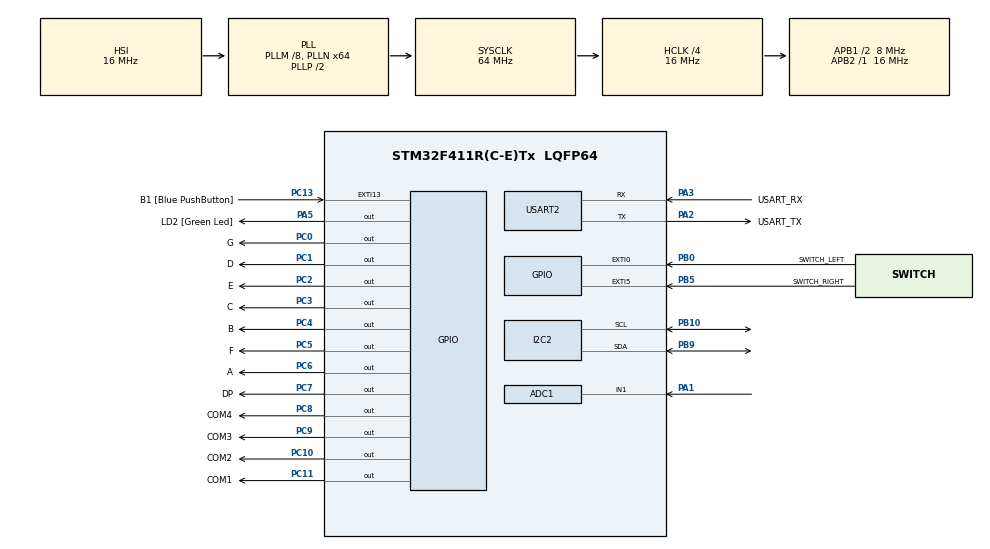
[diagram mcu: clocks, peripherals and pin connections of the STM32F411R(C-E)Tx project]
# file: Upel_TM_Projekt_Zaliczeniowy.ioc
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ADC1.Channel-0\#ChannelRegularConversion=ADC_CHANNEL_TEMPSENSOR
ADC1.Channel-1\#ChannelRegularConversion=ADC_CHANNEL_1
ADC1.ClockPrescaler=ADC_CLOCK_SYNC_PCLK_DIV8
ADC1.ContinuousConvMode=DISABLE
ADC1.DMAContinuousRequests=ENABLE
ADC1.ExternalTrigConv=ADC_EXTERNALTRIGCONV_T3_TRGO
ADC1.NbrOfConversion=2
ADC1.NbrOfConversionFlag=1
ADC1.Rank-0\#ChannelRegularConversion=1
ADC1.Rank-1\#ChannelRegularConversion=2
ADC1.SamplingTime-0\#ChannelRegularConversion=ADC_SAMPLETIME_480CYCLES
ADC1.SamplingTime-1\#ChannelRegularConversion=ADC_SAMPLETIME_480CYCLES
ADC1.ScanConvMode=ENABLE
ADC1.master=1
Dma.ADC1.0.Direction=DMA_PERIPH_TO_MEMORY
Dma.ADC1.0.FIFOMode=DMA_FIFOMODE_DISABLE
Dma.ADC1.0.Instance=DMA2_Stream0
Dma.ADC1.0.MemDataAlignment=DMA_MDATAALIGN_HALFWORD
Dma.ADC1.0.MemInc=DMA_MINC_ENABLE
Dma.ADC1.0.Mode=DMA_CIRCULAR
Dma.ADC1.0.PeriphDataAlignment=DMA_PDATAALIGN_HALFWORD
Dma.ADC1.0.PeriphInc=DMA_PINC_DISABLE
Dma.ADC1.0.Priority=DMA_PRIORITY_LOW
Dma.Request0=ADC1
I2C2.I2C_Mode=I2C_Fast
Mcu.Family=STM32F4
Mcu.Name=STM32F411R(C-E)Tx
Mcu.Package=LQFP64
NVIC.DMA2_Stream0_IRQn=true\:0\:0\:false\:false\:true\:false\:true
NVIC.EXTI0_IRQn=true\:0\:0\:false\:false\:true\:true\:true
NVIC.EXTI15_10_IRQn=true\:0\:0\:false\:false\:true\:true\:true
NVIC.EXTI9_5_IRQn=true\:0\:0\:false\:false\:true\:true\:true
NVIC.PriorityGroup=NVIC_PRIORITYGROUP_0
NVIC.TIM1_UP_TIM10_IRQn=true\:0\:0\:false\:false\:true\:true\:true
NVIC.USART2_IRQn=true\:0\:0\:false\:false\:true\:true\:true
PA1.Signal=ADCx_IN1
PA13.GPIO_Label=TMS
PA13.Mode=Serial_Wire
PA13.Signal=SYS_JTMS-SWDIO
PA14.GPIO_Label=TCK
PA14.Mode=Serial_Wire
PA14.Signal=SYS_JTCK-SWCLK
PA2.GPIO_Label=USART_TX
PA2.Mode=Asynchronous
PA2.Signal=USART2_TX
PA3.GPIO_Label=USART_RX
PA3.Mode=Asynchronous
PA3.Signal=USART2_RX
PA5.GPIO_Label=LD2 [Green Led]
PA5.Signal=GPIO_Output
PB0.GPIO_Label=SWITCH_LEFT
PB0.GPIO_ModeDefaultEXTI=GPIO_MODE_IT_FALLING
PB0.GPIO_PuPd=GPIO_PULLUP
PB0.Signal=GPXTI0
PB10.Mode=I2C
PB10.Signal=I2C2_SCL
PB3.GPIO_Label=SWO
PB3.Signal=SYS_JTDO-SWO
PB5.GPIO_Label=SWITCH_RIGHT
PB5.GPIO_ModeDefaultEXTI=GPIO_MODE_IT_FALLING
PB5.GPIO_PuPd=GPIO_PULLUP
PB5.Signal=GPXTI5
PB9.Mode=I2C
PB9.Signal=I2C2_SDA
PC0.GPIO_Label=G
PC0.Signal=GPIO_Output
PC1.GPIO_Label=D
PC1.Signal=GPIO_Output
PC10.GPIO_Label=COM2
PC10.Signal=GPIO_Output
PC11.GPIO_Label=COM1
PC11.Signal=GPIO_Output
PC13-ANTI_TAMP.GPIO_Label=B1 [Blue PushButton]
PC13-ANTI_TAMP.GPIO_ModeDefaultEXTI=GPIO_MODE_IT_FALLING
PC13-ANTI_TAMP.Signal=GPXTI13
PC14-OSC32_IN.Mode=LSE-External-Oscillator
PC14-OSC32_IN.Signal=RCC_OSC32_IN
PC15-OSC32_OUT.Mode=LSE-External-Oscillator
PC15-OSC32_OUT.Signal=RCC_OSC32_OUT
PC2.GPIO_Label=E
PC2.Signal=GPIO_Output
PC3.GPIO_Label=C
PC3.Signal=GPIO_Output
PC4.GPIO_Label=B
PC4.Signal=GPIO_Output
PC5.GPIO_Label=F
PC5.Signal=GPIO_Output
PC6.GPIO_Label=A
PC6.Signal=GPIO_Output
PC7.GPIO_Label=DP
PC7.Signal=GPIO_Output
PC8.GPIO_Label=COM4
PC8.Signal=GPIO_Output
PC9.GPIO_Label=COM3
PC9.Signal=GPIO_Output
PH0\ -\ OSC_IN.Mode=HSE-External-Clock-Source
PH0\ -\ OSC_IN.Signal=RCC_OSC_IN
PH1\ -\ OSC_OUT.Mode=HSE-External-Clock-Source
PH1\ -\ OSC_OUT.Signal=RCC_OSC_OUT
ProjectManager.HeapSize=0x200
ProjectManager.StackSize=0x400
ProjectManager.TargetToolchain=STM32CubeIDE
RCC.48MHZClocksFreq_Value=32000000
RCC.AHBCLKDivider=RCC_SYSCLK_DIV4
RCC.AHBFreq_Value=16000000
RCC.APB1CLKDivider=RCC_HCLK_DIV2
RCC.APB1Freq_Value=8000000
RCC.APB1TimFreq_Value=16000000
RCC.APB2Freq_Value=16000000
RCC.APB2TimFreq_Value=16000000
RCC.CortexFreq_Value=16000000
RCC.FLatency-AdvancedSettings=FLASH_LATENCY_0
RCC.HCLKFreq_Value=16000000
RCC.HSE_VALUE=8000000
RCC.HSI_VALUE=16000000
RCC.PLLM=8
RCC.PLLN=64
RCC.SYSCLKFreq_VALUE=64000000
RCC.SYSCLKSource=RCC_SYSCLKSOURCE_PLLCLK
RCC.VCOOutputFreq_Value=128000000
SH.ADCx_IN1.0=ADC1_IN1,IN1
TIM1.Channel-Output\ Compare1\ No\ Output=TIM_CHANNEL_1
TIM1.Period=1000-1
TIM1.Prescaler=16000-1
TIM3.Channel-Output\ Compare1\ No\ Output=TIM_CHANNEL_1
TIM3.Period=1000-1
TIM3.Prescaler=1600-1
TIM3.TIM_MasterOutputTrigger=TIM_TRGO_UPDATE
USART2.VirtualMode=VM_ASYNC
VP_ADC1_TempSens_Input.Mode=IN-TempSens
VP_TIM1_VS_no_output1.Mode=Output Compare1 No Output
VP_TIM3_VS_no_output1.Mode=Output Compare1 No Output
board=NUCLEO-F411RE

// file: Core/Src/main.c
/* USER CODE BEGIN Header */
/**
 ******************************************************************************
 * @file           : main.c
 * @brief          : Main program body
 ******************************************************************************
 * @attention
 *
 * <h2><center>&copy; Copyright (c) 2020 STMicroelectronics.
 * All rights reserved.</center></h2>
 *
 * This software component is licensed by ST under BSD 3-Clause license,
 * the "License"; You may not use this file except in compliance with the
 * License. You may obtain a copy of the License at:
 *                        opensource.org/licenses/BSD-3-Clause
 *
 ******************************************************************************
 */
/* USER CODE END Header */
#include "main.h"
#include "adc.h"
#include "dma.h"
#include "i2c.h"
#include "tim.h"
#include "usart.h"
#include "gpio.h"

/* USER CODE BEGIN Includes */
#include "LED_display.h"
#include "LPS25HB.h"
#include "temp_and_light_calc.h"

/* USER CODE END Includes */

/* USER CODE BEGIN PD */
#define ADC_BUF_LEN 2
/* USER CODE END PD */

/* USER CODE BEGIN PV */

enum DisplayMode {
	DisplayTemp, DisplayLight, DisplayPress
};
disp_mode = DisplayLight;

/* USER CODE END PV */

void SystemClock_Config(void);

/* USER CODE BEGIN 0 */

float max_light_measurement=-1;
float min_light_measurement =-1;

float light_raw_measurement;

uint16_t temp_to_display  = 0;
uint16_t light_to_display = 0;
int press_to_display = 0;

//mode variable to maintain light modes
int mode = 0;

//raw table of temp and light measurements (For DMA, [temp, light,....])
uint16_t temp_and_light[10];

void HAL_GPIO_EXTI_Callback(uint16_t GPIO_Pin) {

	static int button_start;
	//delay value to deliver debouncing
	const int delay = 300;

	if (GPIO_Pin == B1_Pin) {
		if (disp_mode == DisplayLight) {
			disp_mode = DisplayTemp;
			mode = 0;
		}else if (disp_mode == DisplayTemp){
			disp_mode = DisplayPress;
		}else if (disp_mode == DisplayPress) {
			disp_mode = DisplayLight;
		}
	}

	if (GPIO_Pin == SWITCH_LEFT_Pin) {
		if(HAL_GetTick() - button_start >= delay){
			button_start = HAL_GetTick();
			if (mode == 0) {
				mode = 1;
			}else if (mode == 1) {
				mode = 2;
			} else if (mode == 2) {
				mode = 3;
			} else if (mode == 3) {
				mode = 0;
			}
		}
	}

	if (GPIO_Pin == SWITCH_RIGHT_Pin) {
		if (mode == 2) {
			min_light_measurement = light_raw_measurement;
		}else if (mode == 3) {
			max_light_measurement = light_raw_measurement;
		}
	}
}

void HAL_TIM_PeriodElapsedCallback(TIM_HandleTypeDef *htim) {
	if (htim->Instance == TIM1) {
		uint16_t temp_raw_measurement;
		uint16_t sum_of_temp = 0;
		uint16_t sum_of_light = 0;

		for (int i = 0; i < 10; i++) {
			if (i % 2 == 0) {
				sum_of_temp += temp_and_light[i];
			} else {
				sum_of_light += temp_and_light[i];
			}
		}
		temp_raw_measurement = sum_of_temp / 5;
		light_raw_measurement = sum_of_light / 5 ;

		// Update  temp and light and press values
		light_to_display = calculate_light(light_raw_measurement, min_light_measurement, max_light_measurement);
		temp_to_display = calculate_temp(temp_raw_measurement);
		press_to_display = LPS25HB_Read_Press();

		uint8_t data[100];
		uint16_t msg = 0;

		msg = sprintf(data, "%d %d %d\n\r", light_to_display, temp_to_display, press_to_display);
		HAL_UART_Transmit_IT(&huart2, data, msg);
	}
}

/* USER CODE END 0 */

int main(void)
{

  /* MCU Configuration--------------------------------------------------------*/

  /* Reset of all peripherals, Initializes the Flash interface and the Systick. */
  HAL_Init();

  /* Configure the system clock */
  SystemClock_Config();

  /* Initialize all configured peripherals */
  MX_GPIO_Init();
  MX_DMA_Init();
  MX_USART2_UART_Init();
  MX_ADC1_Init();
  MX_TIM1_Init();
  MX_TIM3_Init();
  MX_I2C2_Init();
  /* USER CODE BEGIN 2 */
  HAL_TIM_Base_Start_IT(&htim1);
  HAL_TIM_Base_Start_IT(&htim3);
  HAL_TIM_OC_Start_IT(&htim1, TIM_CHANNEL_1);
  //init DMA that gathers temp and light measurements to one array
  HAL_ADC_Start_DMA(&hadc1, temp_and_light, 10);
  LPS25HB_Init ();
  /* USER CODE END 2 */

  /* Infinite loop */
  /* USER CODE BEGIN WHILE */
	while (1) {

		switch (disp_mode) {

		case DisplayTemp:
			display(temp_to_display, mode, 0b1);
			break;
		case DisplayLight:
			display(light_to_display, mode, 0b0);
			break;
		case DisplayPress:
			display(press_to_display, mode, 0b0);
			break;
		}

    /* USER CODE END WHILE */

	}
}

void SystemClock_Config(void)
{
  RCC_OscInitTypeDef RCC_OscInitStruct = {0};
  RCC_ClkInitTypeDef RCC_ClkInitStruct = {0};

  /** Configure the main internal regulator output voltage
  */
  __HAL_RCC_PWR_CLK_ENABLE();
  __HAL_PWR_VOLTAGESCALING_CONFIG(PWR_REGULATOR_VOLTAGE_SCALE1);
  /** Initializes the RCC Oscillators according to the specified parameters
  * in the RCC_OscInitTypeDef structure.
  */
  RCC_OscInitStruct.OscillatorType = RCC_OSCILLATORTYPE_HSI;
  RCC_OscInitStruct.HSIState = RCC_HSI_ON;
  RCC_OscInitStruct.HSICalibrationValue = RCC_HSICALIBRATION_DEFAULT;
  RCC_OscInitStruct.PLL.PLLState = RCC_PLL_ON;
  RCC_OscInitStruct.PLL.PLLSource = RCC_PLLSOURCE_HSI;
  RCC_OscInitStruct.PLL.PLLM = 8;
  RCC_OscInitStruct.PLL.PLLN = 64;
  RCC_OscInitStruct.PLL.PLLP = RCC_PLLP_DIV2;
  RCC_OscInitStruct.PLL.PLLQ = 4;
  if (HAL_RCC_OscConfig(&RCC_OscInitStruct) != HAL_OK)
  {
    Error_Handler();
  }
  /** Initializes the CPU, AHB and APB buses clocks
  */
  RCC_ClkInitStruct.ClockType = RCC_CLOCKTYPE_HCLK|RCC_CLOCKTYPE_SYSCLK
                              |RCC_CLOCKTYPE_PCLK1|RCC_CLOCKTYPE_PCLK2;
  RCC_ClkInitStruct.SYSCLKSource = RCC_SYSCLKSOURCE_PLLCLK;
  RCC_ClkInitStruct.AHBCLKDivider = RCC_SYSCLK_DIV4;
  RCC_ClkInitStruct.APB1CLKDivider = RCC_HCLK_DIV2;
  RCC_ClkInitStruct.APB2CLKDivider = RCC_HCLK_DIV1;

  if (HAL_RCC_ClockConfig(&RCC_ClkInitStruct, FLASH_LATENCY_0) != HAL_OK)
  {
    Error_Handler();
  }
}

void Error_Handler(void)
{
}

/************************ (C) COPYRIGHT STMicroelectronics *****END OF FILE****/
